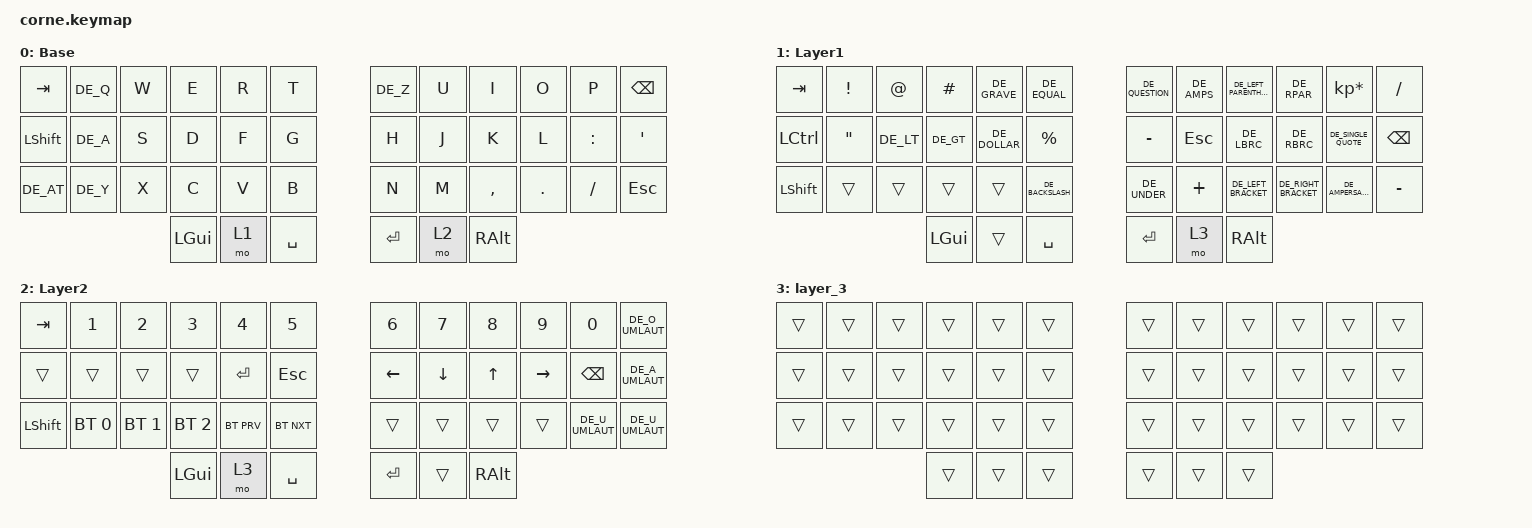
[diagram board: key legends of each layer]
/*
 * Copyright (c) 2020 The ZMK Contributors
 *
 * SPDX-License-Identifier: MIT
 */

#include "keys_de_swiss.h"
#include <behaviors.dtsi>
#include <dt-bindings/zmk/bt.h>
#include <dt-bindings/zmk/keys.h>

/ {
    keymap {
        compatible = "zmk,keymap";

        default_layer {
            // -----------------------------------------------------------------------------------------
            // |  TAB |  Q  |  W  |  E  |  R  |  T  |   |  Y  |  U   |  I  |  O  |  P  | BKSP |
            // | CTRL |  A  |  S  |  D  |  F  |  G  |   |  H  |  J   |  K  |  L  |  ;  |  '   |
            // | SHFT |  Z  |  X  |  C  |  V  |  B  |   |  N  |  M   |  ,  |  .  |  /  | ESC  |
            //                    | GUI | LWR | SPC |   | ENT | RSE  | ALT |

            label = "Base";
            bindings = <
&kp TAB         &kp DE_Q  &kp W  &kp E     &kp R  &kp T        &kp DE_Z  &kp U  &kp I      &kp O    &kp P      &kp BSPC
&kp LEFT_SHIFT  &kp DE_A  &kp S  &kp D     &kp F  &kp G        &kp H     &kp J  &kp K      &kp L    &kp COLON  &kp SQT
&kp DE_AT       &kp DE_Y  &kp X  &kp C     &kp V  &kp B        &kp N     &kp M  &kp COMMA  &kp DOT  &kp FSLH   &kp ESC
                                 &kp LGUI  &mo 1  &kp SPACE    &kp RET   &mo 2  &kp RALT
            >;
        };

        raise_layer {
            // -----------------------------------------------------------------------------------------
            // |  TAB |  !  |  @  |  #  |  $  |  %  |   |  ^  |  &  |  *  |  (  |  )  | BKSP |
            // | CTRL |     |     |     |     |     |   |  -  |  =  |  [  |  ]  |  \  |  `   |
            // | SHFT |     |     |     |     |     |   |  _  |  +  |  {  |  }  | "|" |  ~   |
            //                    | GUI |     | SPC |   | ENT |     | ALT |

            label = "Layer1";
            bindings = <
&kp TAB    &kp EXCL  &kp AT     &kp HASH   &kp DE_GRAVE   &kp DE_EQUAL        &kp DE_QUESTION  &kp DE_AMPS  &kp DE_LEFT_PARENTHESIS  &kp DE_RPAR           &kp KP_MULTIPLY      &kp SLASH
&kp LCTRL  &kp DQT   &kp DE_LT  &kp DE_GT  &kp DE_DOLLAR  &kp PRCNT           &kp MINUS        &kp ESC      &kp DE_LBRC              &kp DE_RBRC           &kp DE_SINGLE_QUOTE  &kp BSPC
&kp LSHFT  &trans    &trans     &trans     &trans         &kp DE_BACKSLASH    &kp DE_UNDER     &kp PLUS     &kp DE_LEFT_BRACKET      &kp DE_RIGHT_BRACKET  &kp DE_AMPERSAND     &kp MINUS
                                &kp LGUI   &trans         &kp SPACE           &kp RET          &mo 3        &kp RALT
            >;
        };

        lower_layer {
            // -----------------------------------------------------------------------------------------
            // |  TAB |  1  |  2  |  3  |  4  |  5  |   |  6  |  7  |  8  |  9  |  0  | BKSP |
            // | BTCLR| BT1 | BT2 | BT3 | BT4 | BT5 |   | LFT | DWN |  UP | RGT |     |      |
            // | SHFT |     |     |     |     |     |   |     |     |     |     |     |      |
            //                    | GUI |     | SPC |   | ENT |     | ALT |

            label = "Layer2";
            bindings = <
&kp TAB    &kp N1        &kp N2        &kp N3        &kp N4      &kp N5        &kp N6    &kp N7    &kp N8    &kp N9     &kp N0           &kp DE_O_UMLAUT
&trans     &trans        &trans        &trans        &kp RET     &kp ESCAPE    &kp LEFT  &kp DOWN  &kp UP    &kp RIGHT  &kp BSPC         &kp DE_A_UMLAUT
&kp LSHFT  &bt BT_SEL 0  &bt BT_SEL 1  &bt BT_SEL 2  &bt BT_PRV  &bt BT_NXT    &trans    &trans    &trans    &trans     &kp DE_U_UMLAUT  &kp DE_U_UMLAUT
                                       &kp LGUI      &mo 3       &kp SPACE     &kp RET   &trans    &kp RALT
            >;
        };

        layer_3 {
            bindings = <
&trans  &trans  &trans  &trans  &trans  &trans    &trans  &trans  &trans  &trans  &trans  &trans
&trans  &trans  &trans  &trans  &trans  &trans    &trans  &trans  &trans  &trans  &trans  &trans
&trans  &trans  &trans  &trans  &trans  &trans    &trans  &trans  &trans  &trans  &trans  &trans
                        &trans  &trans  &trans    &trans  &trans  &trans
            >;
        };
    };
};
